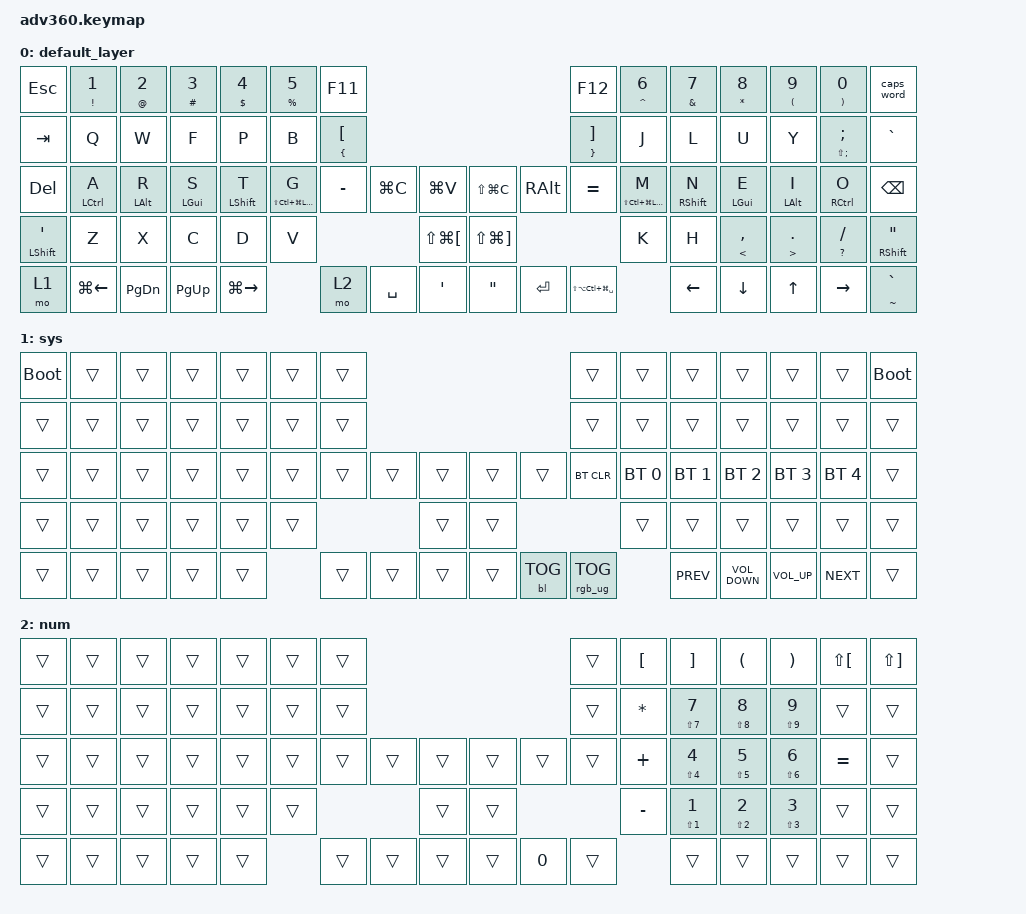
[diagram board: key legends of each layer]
#include <behaviors.dtsi>
#include <dt-bindings/zmk/backlight.h>
#include <dt-bindings/zmk/bt.h>
#include <dt-bindings/zmk/keys.h>
#include <dt-bindings/zmk/keys.h>
#include <dt-bindings/zmk/rgb.h>

/ {
    behaviors {
        #include "macros.dtsi"

        hm: homerow_mods {
            compatible = "zmk,behavior-hold-tap";
            label = "HOMEROW_MODS";
            #binding-cells = <2>;
            tapping-term-ms = <200>;
            quick_tap_ms = <175>;
            flavor = "tap-preferred";
            bindings = <&kp>, <&kp>;
        };

        hml: hml {
            compatible = "zmk,behavior-hold-tap";
            label = "HML";
            bindings = <&kp>, <&kp>;

            #binding-cells = <2>;
            tapping-term-ms = <280>;
            quick-tap-ms = <150>;
            global-quick-tap;
            flavor = "balanced";
            hold-trigger-key-positions = <7 8 9 10 11 12 13 21 22 23 24 25 26 27 38 39 40 41 42 43 44 45 54 55 56 57 58 59 71 72 73 74 75 35 36 37 38 52 53 65 66 67 68 69 70 71>;
            hold-trigger-on-release;
        };

        cpy_pst: cpy_pst {
            compatible = "zmk,behavior-tap-dance";
            label = "CPY_PST";
            #binding-cells = <0>;
            bindings = <&kp LG(C)>, <&kp LG(V)>;

            tapping-term-ms = <125>;
        };

        hmr: hmr {
            compatible = "zmk,behavior-hold-tap";
            label = "HMR";
            bindings = <&kp>, <&kp>;

            #binding-cells = <2>;
            tapping-term-ms = <280>;
            quick-tap-ms = <175>;
            global-quick-tap;
            flavor = "balanced";
            hold-trigger-key-positions = <0 1 2 3 4 5 6 14 15 16 17 18 19 20 28 29 30 31 32 33 34 35 36 37 38 46 47 48 49 50 51 52 53 60 61 62 63 64 65 66 67 68 69 70>;
            hold-trigger-on-release;
        };
    };

    combos {
        compatible = "zmk,combos";

        sleep {
            bindings = <&kt LA(LG(C_EJECT))>;
            key-positions = <0 13>;
        };
    };

    keymap {
        compatible = "zmk,keymap";

        default_layer {
            bindings = <
&kp ESC                      &mt EXCLAMATION NUMBER_1  &mt AT_SIGN NUMBER_2  &mt HASH NUMBER_3  &mt DOLLAR NUMBER_4  &mt PERCENT NUMBER_5         &kp F11                                                                                         &kp F12                        &mt CARET NUMBER_6           &mt AMPERSAND NUMBER_7  &mt ASTERISK NUMBER_8  &mt LEFT_PARENTHESIS NUMBER_9  &mt RIGHT_PARENTHESIS NUMBER_0  &caps_word
&kp TAB                      &kp Q                     &kp W                 &kp F              &kp P                &kp B                        &mt LEFT_BRACE LEFT_BRACKET                                                                     &mt RIGHT_BRACE RIGHT_BRACKET  &kp J                        &kp L                   &kp U                  &kp Y                          &mt LS(SEMI) SEMICOLON          &kp GRAVE
&kp DEL                      &hml LCTRL A              &hml LEFT_ALT R       &hml LGUI S        &hml LSHIFT T        &hml LS(LC(LG(LEFT_ALT))) G  &kp MINUS                    &kp LG(C)  &kp LG(V)             &kp LS(LG(C))      &kp RIGHT_ALT  &kp EQUAL                      &hmr LS(LC(LG(LEFT_ALT))) M  &hmr RIGHT_SHIFT N      &hmr LEFT_GUI E        &hmr LEFT_ALT I                &hmr RCTRL O                    &kp BSPC
&mt LEFT_SHIFT SINGLE_QUOTE  &kp Z                     &kp X                 &kp C              &kp D                &kp V                                                                &kp LS(LG(LBKT))      &kp LS(LG(RBKT))                                                 &kp K                        &kp H                   &mt LESS_THAN COMMA    &mt GREATER_THAN PERIOD        &mt QUESTION FSLH               &mt RIGHT_SHIFT DOUBLE_QUOTES
&mo 1                        &kp LG(LEFT_ARROW)        &kp PG_DN             &kp PG_UP          &kp LG(RIGHT)                                     &mo 2                        &kp SPACE  &kp SINGLE_QUOTE      &kp DOUBLE_QUOTES  &kp ENTER      &kp LS(LA(LC(LG(SPACE))))                                   &kp LEFT                &kp DOWN               &kp UP                         &kp RIGHT                       &mt TILDE GRAVE
            >;
        };

        sys {
            bindings = <
&bootloader  &trans  &trans  &trans  &trans  &trans  &trans                                          &trans           &trans        &trans        &trans             &trans        &trans        &bootloader
&trans       &trans  &trans  &trans  &trans  &trans  &trans                                          &trans           &trans        &trans        &trans             &trans        &trans        &trans
&trans       &trans  &trans  &trans  &trans  &trans  &trans  &trans  &trans      &trans  &trans      &bt BT_CLR       &bt BT_SEL 0  &bt BT_SEL 1  &bt BT_SEL 2       &bt BT_SEL 3  &bt BT_SEL 4  &trans
&trans       &trans  &trans  &trans  &trans  &trans                  &trans      &trans                               &trans        &trans        &trans             &trans        &trans        &trans
&trans       &trans  &trans  &trans  &trans          &trans  &trans  &trans      &trans  &bl BL_TOG  &rgb_ug RGB_TOG                &kp C_PREV    &kp C_VOLUME_DOWN  &kp C_VOL_UP  &kp C_NEXT    &trans
            >;

            label = "sys";
        };

        num {
            bindings = <
&trans  &trans  &trans  &trans  &trans  &trans  &trans                                            &trans  &kp LBKT      &kp RBKT                   &kp LEFT_PARENTHESIS       &kp RIGHT_PARENTHESIS      &kp LS(LBKT)  &kp LS(RBKT)
&trans  &trans  &trans  &trans  &trans  &trans  &trans                                            &trans  &kp ASTERISK  &mt LS(NUMBER_7) NUMBER_7  &mt LS(NUMBER_8) NUMBER_8  &mt LS(NUMBER_9) NUMBER_9  &trans        &trans
&trans  &trans  &trans  &trans  &trans  &trans  &trans  &trans  &trans      &trans  &trans        &trans  &kp PLUS      &mt LS(NUMBER_4) NUMBER_4  &mt LS(NUMBER_5) NUMBER_5  &mt LS(NUMBER_6) NUMBER_6  &kp EQUAL     &trans
&trans  &trans  &trans  &trans  &trans  &trans                  &trans      &trans                        &kp MINUS     &mt LS(NUMBER_1) NUMBER_1  &mt LS(NUMBER_2) NUMBER_2  &mt LS(NUMBER_3) NUMBER_3  &trans        &trans
&trans  &trans  &trans  &trans  &trans          &trans  &trans  &trans      &trans  &kp NUMBER_0  &trans                &trans                     &trans                     &trans                     &trans        &trans
            >;

            label = "num";
        };
    };
};
